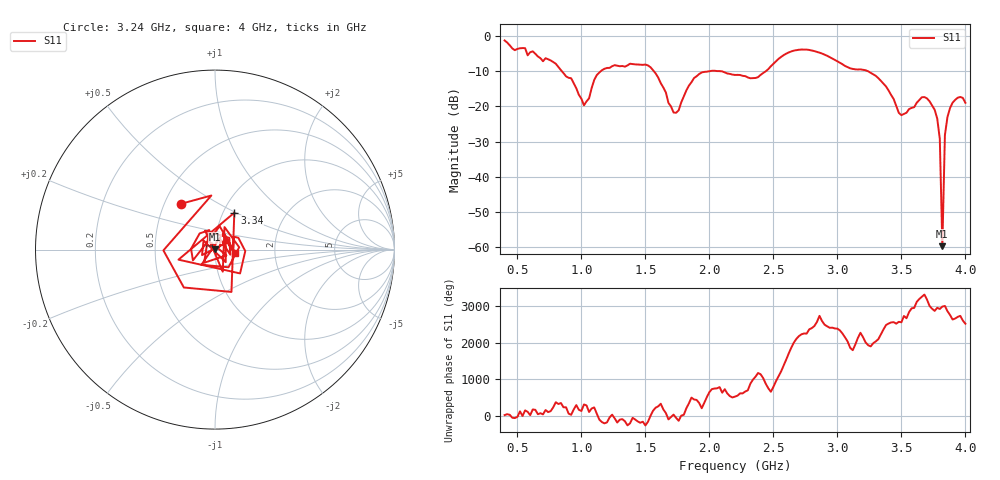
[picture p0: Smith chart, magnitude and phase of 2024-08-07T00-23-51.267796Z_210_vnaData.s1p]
!Created with skrf (http://scikit-rf.org).
# Hz S RI R 50.0
!freq ReS11 ImS11
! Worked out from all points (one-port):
!   181 points, 400 MHz to 4 GHz, reference 50 ohm
!   lowest |S11| = -59.8 dB at 3.82 GHz (marker M1), VSWR 1.00, Z = 50 + j0.101 ohm
!   |S11| at or under -10 dB: 1.567 GHz to 1.991 GHz (423.8 MHz wide, 23.8 % of centre); 2.1 GHz to 2.439 GHz (338.8 MHz wide, 14.9 % of centre); 3.242 GHz to end of sweep (the widest 3 of 4)
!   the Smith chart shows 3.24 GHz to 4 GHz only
!   S11 on the Smith chart (normalised r, x): 3.24 GHz: 0.61, +0.34; 3.34 GHz: 1.13, +0.49; 4 GHz: 1.25, -0.04
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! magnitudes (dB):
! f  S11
! 400 MHz  -1.2
! 860 MHz  -10.5
! 920 MHz  -11.9
! 1.02 GHz  -19.7
! 1.12 GHz  -11.1
! 1.3 GHz  -8.5
! 1.54 GHz  -8.8
! 1.72 GHz  -21.7
! 1.76 GHz  -21.1
! 1.84 GHz  -14.1
! 1.92 GHz  -10.7
! 2.2 GHz  -11.0
! 2.38 GHz  -11.6
! 2.66 GHz  -4.1
! 2.86 GHz  -4.7
! 3.1 GHz  -9.1
! 3.24 GHz  -10.0
! 3.34 GHz  -12.7
! 3.48 GHz  -21.8
! 3.56 GHz  -20.7
! 3.68 GHz  -17.3
! 3.78 GHz  -23.4
! 3.8 GHz  -29.2
! 3.82 GHz  -59.8
! 3.84 GHz  -28.1
! 3.86 GHz  -23.0
! 3.94 GHz  -17.5
! 4 GHz  -18.9
